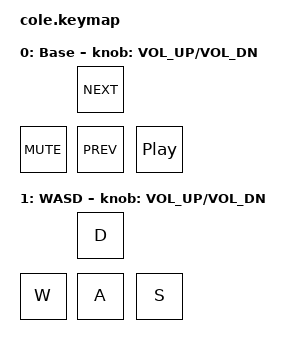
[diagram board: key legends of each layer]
#include <behaviors.dtsi>
#include <dt-bindings/zmk/keys.h>

/ {
    keymap {
        compatible = "zmk,keymap";

        default_layer {
            display-name = "Base";
            bindings = <
                &kp C_PP
                &kp C_PREV &kp C_NEXT
                &kp C_MUTE
            >;
            sensor-bindings = <&inc_dec_kp C_VOL_UP C_VOL_DN>;
        };

        wasd_layer {
            display-name = "WASD";
            bindings = <
                &kp S
                &kp A &kp D
                &kp W
            >;
            sensor-bindings = <&inc_dec_kp C_VOL_UP C_VOL_DN>;
        };
    };

    combos {
        compatible = "zmk,combos";

        toggle_wasd {
            timeout-ms = <200>;
            key-positions = <0 1 2 3>;
            bindings = <&tog 1>;
        };

        unlock_studio {
            timeout-ms = <200>;
            key-positions = <0 3>;
            bindings = <&studio_unlock>;
        };
    };
};
